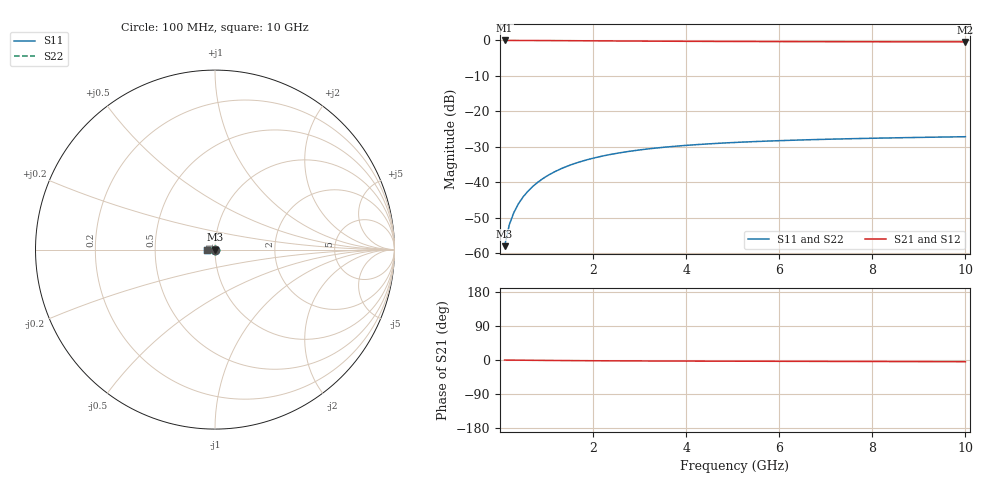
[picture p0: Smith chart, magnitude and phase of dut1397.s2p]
! Touchstone file exported from HFSS 2024.1.0
!  File:  C:/UserFiles/LocalFiles/RDL_TSV_Batchsim/temp_TSV1_1397_1780381907.aedt
!  Generated:  02:37:06 PM Jun  2, 2026
!  Design:  TSV1
!  Project:  temp_TSV1_1397_1780381907
!  Setup:  Setup1
!  Solution:  Sweep
! Variables:
!  dtsv = 12.31um
!  hbump = 3um
!  htsv = 68.45um
!  lrdl = 252.1521522um
!  p = 40
!  p1 = 53.24um
!  t = 500um
!  trdl = 3um
!  wrdl = 24.89489489um
# GHz S MA R 50.000000
! Terminal data exported
! Port[1] = TSV22_T1
! Port[2] = TSV22_T2
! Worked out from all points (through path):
!   100 points, 100 MHz to 10 GHz, reference 50 ohm
!   highest |S21| = 0.00 dB at 100 MHz (marker M1); lowest = -0.4 dB at 10 GHz (marker M2)
!   lowest |S11| = -58.0 dB at 100 MHz (marker M3), VSWR 1.00, Z = 50 - j0.126 ohm
!   |S11| at or under -10 dB: start of sweep to end of sweep
!   |S22| runs from -58.0 to -27.1 dB; largest |S21 - S12| = 1.3e-14
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0.1  0.001264 -87.9  0.9999 -0.1  0.9999 -0.1  0.001264 -87.9
! Gamma 0 0 0 0
! Port Impedance 50 0 50 0
0.2  0.002524 -91.6  0.9997 -0.2  0.9997 -0.2  0.002524 -91.6
0.3  0.003783 -94.0  0.9995 -0.4  0.9995 -0.4  0.003783 -94.0
0.4  0.005036 -96.1  0.9992 -0.5  0.9992 -0.5  0.005036 -96.1
0.5  0.006278 -98.1  0.9988 -0.6  0.9988 -0.6  0.006278 -98.1
0.6  0.007506 -100.0  0.9984 -0.7  0.9984 -0.7  0.007506 -100.0
0.7  0.008715 -101.9  0.9979 -0.8  0.9979 -0.8  0.008715 -101.9
0.8  0.009902 -103.8  0.9973 -0.9  0.9973 -0.9  0.009902 -103.8
0.9  0.01107 -105.6  0.9967 -1.0  0.9967 -1.0  0.01107 -105.6
1.1  0.01331 -109.1  0.9953 -1.2  0.9953 -1.2  0.01331 -109.1
1.4  0.01647 -114.2  0.993 -1.5  0.993 -1.5  0.01647 -114.2
1.6  0.01841 -117.3  0.9913 -1.6  0.9913 -1.6  0.01841 -117.3
1.8  0.02023 -120.3  0.9896 -1.8  0.9896 -1.8  0.02023 -120.3
2.1  0.02272 -124.6  0.9869 -2.0  0.9869 -2.0  0.02272 -124.6
2.5  0.02563 -129.8  0.9835 -2.2  0.9835 -2.2  0.02563 -129.8
2.9  0.02811 -134.4  0.9802 -2.4  0.9802 -2.4  0.02811 -134.4
3.4  0.03071 -139.6  0.9765 -2.6  0.9765 -2.6  0.03071 -139.6
4.2  0.03397 -146.7  0.9714 -2.9  0.9714 -2.9  0.03397 -146.7
5.1  0.03668 -153.4  0.967 -3.2  0.967 -3.2  0.03668 -153.4
6.7  0.04001 -162.7  0.9613 -3.6  0.9613 -3.6  0.04001 -162.7
8.4  0.04238 -170.5  0.9574 -4.1  0.9574 -4.1  0.04237 -170.5
10  0.04403 -176.6  0.9549 -4.5  0.9549 -4.5  0.04403 -176.6
